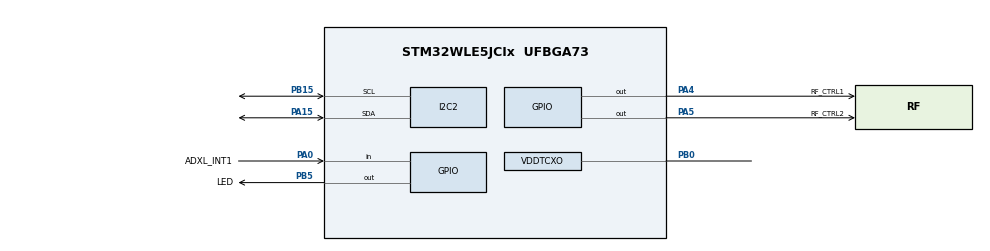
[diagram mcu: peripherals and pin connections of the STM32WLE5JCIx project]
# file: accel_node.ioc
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ADC.NbrOfConversion=1
ADC.SelectedChannel=ADC_CHANNEL_VREFINT
I2C2.Timing=0x10805D88
Mcu.Family=STM32WL
Mcu.Name=STM32WLE5JCIx
Mcu.Package=UFBGA73
NVIC.PVD_PVM_IRQn=true\:0\:0\:false\:false\:true\:true\:true\:true
NVIC.PriorityGroup=NVIC_PRIORITYGROUP_4
NVIC.SUBGHZ_Radio_IRQn=true\:0\:0\:false\:false\:true\:true\:true\:true
NVIC.TIM17_IRQn=true\:15\:0\:false\:false\:true\:false\:true\:true
NVIC.TimeBase=TIM17_IRQn
NVIC.TimeBaseIP=TIM17
OSC_IN.Mode=HSE-TCXO
OSC_IN.Signal=RCC_OSC_IN
PA0.GPIO_Label=ADXL_INT1
PA0.Signal=GPIO_Input
PA15.Mode=I2C
PA15.Signal=I2C2_SDA
PA4.GPIO_Label=RF_CTRL1
PA4.Signal=GPIO_Output
PA5.GPIO_Label=RF_CTRL2
PA5.Signal=GPIO_Output
PB0-VDD_TCXO.Mode=HSE-TCXO
PB0-VDD_TCXO.Signal=VDDTCXO
PB15.Mode=I2C
PB15.Signal=I2C2_SCL
PB5.GPIO_Label=LED
PB5.PinState=GPIO_PIN_SET
PB5.Signal=GPIO_Output
PB6.Signal=USART1_TX
PB7.Signal=USART1_RX
PC14-OSC32_IN.Mode=LSE-External-Oscillator
PC14-OSC32_IN.Signal=RCC_OSC32_IN
PC15-OSC32_OUT.Mode=LSE-External-Oscillator
PC15-OSC32_OUT.Signal=RCC_OSC32_OUT
ProjectManager.HeapSize=0x200
ProjectManager.StackSize=0x400
ProjectManager.TargetToolchain=STM32CubeIDE
RCC.AHBFreq_Value=48000000
RCC.APB1Freq_Value=48000000
RCC.APB1TimFreq_Value=48000000
RCC.APB2Freq_Value=48000000
RCC.APB2TimFreq_Value=48000000
RCC.APB3Freq_Value=48000000
RCC.CortexFreq_Value=48000000
RCC.HCLKFreq_Value=48000000
RCC.HSE_VALUE=32000000
RCC.HSI_VALUE=16000000
RCC.LSE_VALUE=32768
RCC.PLLN=24
RCC.RTCClockSelection=RCC_RTCCLKSOURCE_LSE
RCC.SYSCLKFreq_VALUE=48000000
RCC.SYSCLKSource=RCC_SYSCLKSOURCE_PLLCLK
RCC.VCOOutputFreq_Value=96000000
RTC.Alarm-Alarm\ A=RTC_ALARM_A
RTC.AsynchPrediv=31
RTC.BinMode=RTC_BINARY_ONLY
SUBGHZ_PHY.USE_LPM=true
SUBGHZ_PHY.USE_RTC=true
SUBGHZ_PHY.USE_UART=false
SubGHz_Phy.BSP.number=1
SubGHz_Phy0.BSP.STBoard=false
SubGHz_Phy0.BSP.api=Unknown
SubGHz_Phy0.BSP.condition=\!SEM_SUBGHZ_USER_APPLICATION | SEM_SUBGHZ_USE_RTC
SubGHz_Phy0.BSP.instance=RTC
SubGHz_Phy0.BSP.ip=RTC
SubGHz_Phy0.BSP.mode=RTC Enabled
SubGHz_Phy0.BSP.name=RTC
SubGHz_Phy0.BSP.solution=RTC
VP_ADC_Vref_Input.Mode=IN-Vrefint
VP_ADV_TRACE_VS_ADV_TRACE.Mode=ADV_TRACE_Enabled
VP_MISC_VS_MISC.Mode=MISC_Enabled
VP_RTC_VS_RTC_Activate.Mode=RTC_Enabled
VP_RTC_VS_RTC_Alarm_A_Intern.Mode=Alarm A
VP_RTC_VS_RTC_Calendar.Mode=RTC_Calendar
VP_SEQUENCER_VS_SEQUENCER.Mode=SEQUENCER_Enabled
VP_SUBGHZ_PHY_VS_SubGhzPhy.Mode=SubGhzPhy_Enabled
VP_SUBGHZ_VS_SUBGHZ.Mode=SUBGHZ_Activate
VP_SYS_VS_tim17.Mode=TIM17
VP_TIMER_VS_TIMER.Mode=TIMER_Enabled
VP_TINY_LPM_VS_TINY_LPM.Mode=TINY_LPM_Enabled
board=custom

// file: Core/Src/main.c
/* USER CODE BEGIN Header */
/**
 ******************************************************************************
 * @file           : main.c
 * @brief          : Main program body
 ******************************************************************************
 * @attention
 *
 * Copyright (c) 2026 STMicroelectronics.
 * All rights reserved.
 *
 * This software is licensed under terms that can be found in the LICENSE file
 * in the root directory of this software component.
 * If no LICENSE file comes with this software, it is provided AS-IS.
 *
 ******************************************************************************
 */
/* USER CODE END Header */
#include "main.h"
#include "adc.h"
#include "i2c.h"
#include "rtc.h"
#include "app_subghz_phy.h"
#include "gpio.h"

/* USER CODE BEGIN Includes */
#include <stdbool.h>
#include "adxl345.h"
#include "power_monitor.h"
/* USER CODE END Includes */

/* USER CODE BEGIN PV */
LoriotaWakeReason_t loriota_wake_reason = LORIOTA_WAKE_BOOT;
bool loriota_was_shutdown = false;
static bool loriota_woke_from_rtc = false;
/* USER CODE END PV */

void SystemClock_Config(void);
/* USER CODE BEGIN PFP */
static void DetectWakeReason(void);
static void InitializeAccelerometer(void);
/* USER CODE END PFP */

/* USER CODE BEGIN 0 */
static void DetectWakeReason(void) {
	uint32_t shutdown_marker = HAL_RTCEx_BKUPRead(&hrtc, RTC_BKP_DR16);

	loriota_was_shutdown = (shutdown_marker == LORIOTA_SHUTDOWN_ARMED);

	if (!loriota_was_shutdown) {
		loriota_wake_reason = LORIOTA_WAKE_BOOT;
		return;
	}

	uint32_t backup_signature = HAL_RTCEx_BKUPRead(&hrtc, RTC_BKP_DR17);
	uint32_t saved_stage = HAL_RTCEx_BKUPRead(&hrtc, RTC_BKP_DR18);

	loriota_woke_from_rtc = (__HAL_RTC_WAKEUPTIMER_GET_FLAG(
			&hrtc, RTC_FLAG_WUTF) != RESET);

	if (backup_signature != LORIOTA_BACKUP_STATE_SIGNATURE) {
		loriota_wake_reason = LORIOTA_WAKE_UNEXPECTED;
	} else if (saved_stage == LORIOTA_STAGE_COOLDOWN) {
		loriota_wake_reason =
				loriota_woke_from_rtc ?
						LORIOTA_WAKE_COOLDOWN_END : LORIOTA_WAKE_UNEXPECTED;
	} else if (saved_stage == LORIOTA_STAGE_PERIODIC) {
		loriota_wake_reason =
				loriota_woke_from_rtc ?
						LORIOTA_WAKE_PERIODIC : LORIOTA_WAKE_ACCEL;
	} else {
		loriota_wake_reason = LORIOTA_WAKE_UNEXPECTED;
	}
}

static void InitializeAccelerometer(void) {
	uint8_t adxl_init_data = 0x08U;
	HAL_I2C_Mem_Write(&hi2c2, 0xA6U, 0x2DU, I2C_MEMADD_SIZE_8BIT,
			&adxl_init_data, 1U, 100U);

	HAL_Delay(200U);

	HAL_I2C_DeInit(&hi2c2);
	MX_I2C2_Init();
	HAL_Delay(10U);

	if (loriota_wake_reason == LORIOTA_WAKE_ACCEL) {
		uint8_t int_source = 0U;

		if (ADXL345_ReadInterruptSource(&int_source) != HAL_OK
				|| (int_source & 0x10U) == 0U) {
			loriota_wake_reason = LORIOTA_WAKE_UNEXPECTED;
		}
	}

	ADXL345_ConfigureActivityDetection();
}
/* USER CODE END 0 */

int main(void) {

	/* MCU Configuration--------------------------------------------------------*/

	/* Reset of all peripherals, Initializes the Flash interface and the Systick. */
	HAL_Init();

	/* USER CODE BEGIN Init */

	HAL_PWR_DisableWakeUpPin(PWR_WAKEUP_PIN1);

	__HAL_PWR_CLEAR_FLAG(PWR_FLAG_WU);
	/* USER CODE END Init */

	/* Configure the system clock */
	SystemClock_Config();

	/* USER CODE BEGIN SysInit */

	hrtc.Instance = RTC;
	__HAL_RCC_RTCAPB_CLK_ENABLE();
	DetectWakeReason();
	/* USER CODE END SysInit */

	/* Initialize all configured peripherals */
	MX_GPIO_Init();
	MX_RTC_Init();
	MX_SubGHz_Phy_Init();
	MX_I2C2_Init();
	MX_ADC_Init();
	/* USER CODE BEGIN 2 */
	PowerMonitor_Init();
	HAL_PWR_EnableBkUpAccess();

	HAL_RTCEx_BKUPWrite(&hrtc,
	RTC_BKP_DR16, 0UL);

	if (HAL_RTCEx_DeactivateWakeUpTimer(&hrtc) != HAL_OK) {
		Error_Handler();
	}

	HAL_NVIC_ClearPendingIRQ(RTC_WKUP_IRQn);
	HAL_NVIC_SetPriority(RTC_WKUP_IRQn, 1, 0);
	HAL_NVIC_EnableIRQ(RTC_WKUP_IRQn);

	InitializeAccelerometer();

	if (loriota_wake_reason == LORIOTA_WAKE_UNEXPECTED) {
		Error_Handler();
	}
	/* USER CODE END 2 */

	/* Infinite loop */
	while (1) {
		MX_SubGHz_Phy_Process();

	}
}

void SystemClock_Config(void) {
	RCC_OscInitTypeDef RCC_OscInitStruct = { 0 };
	RCC_ClkInitTypeDef RCC_ClkInitStruct = { 0 };

	/** Configure LSE Drive Capability
	 */
	HAL_PWR_EnableBkUpAccess();
	__HAL_RCC_LSEDRIVE_CONFIG(RCC_LSEDRIVE_LOW);

	/** Configure the main internal regulator output voltage
	 */
	__HAL_PWR_VOLTAGESCALING_CONFIG(PWR_REGULATOR_VOLTAGE_SCALE1);

	/** Initializes the CPU, AHB and APB buses clocks
	 */
	RCC_OscInitStruct.OscillatorType = RCC_OSCILLATORTYPE_LSE
			| RCC_OSCILLATORTYPE_MSI;
	RCC_OscInitStruct.LSEState = RCC_LSE_ON;
	RCC_OscInitStruct.MSIState = RCC_MSI_ON;
	RCC_OscInitStruct.MSICalibrationValue = RCC_MSICALIBRATION_DEFAULT;
	RCC_OscInitStruct.MSIClockRange = RCC_MSIRANGE_6;
	RCC_OscInitStruct.PLL.PLLState = RCC_PLL_ON;
	RCC_OscInitStruct.PLL.PLLSource = RCC_PLLSOURCE_MSI;
	RCC_OscInitStruct.PLL.PLLM = RCC_PLLM_DIV1;
	RCC_OscInitStruct.PLL.PLLN = 24;
	RCC_OscInitStruct.PLL.PLLP = RCC_PLLP_DIV2;
	RCC_OscInitStruct.PLL.PLLR = RCC_PLLR_DIV2;
	RCC_OscInitStruct.PLL.PLLQ = RCC_PLLQ_DIV2;
	if (HAL_RCC_OscConfig(&RCC_OscInitStruct) != HAL_OK) {
		Error_Handler();
	}

	/** Configure the SYSCLKSource, HCLK, PCLK1 and PCLK2 clocks dividers
	 */
	RCC_ClkInitStruct.ClockType = RCC_CLOCKTYPE_HCLK3 | RCC_CLOCKTYPE_HCLK
			| RCC_CLOCKTYPE_SYSCLK | RCC_CLOCKTYPE_PCLK1 | RCC_CLOCKTYPE_PCLK2;
	RCC_ClkInitStruct.SYSCLKSource = RCC_SYSCLKSOURCE_PLLCLK;
	RCC_ClkInitStruct.AHBCLKDivider = RCC_SYSCLK_DIV1;
	RCC_ClkInitStruct.APB1CLKDivider = RCC_HCLK_DIV1;
	RCC_ClkInitStruct.APB2CLKDivider = RCC_HCLK_DIV1;
	RCC_ClkInitStruct.AHBCLK3Divider = RCC_SYSCLK_DIV1;

	if (HAL_RCC_ClockConfig(&RCC_ClkInitStruct, FLASH_LATENCY_2) != HAL_OK) {
		Error_Handler();
	}
}

void HAL_TIM_PeriodElapsedCallback(TIM_HandleTypeDef *htim) {
	if (htim->Instance == TIM17) {
		HAL_IncTick();
	}
}

void Error_Handler(void) {
	__disable_irq();
	while (1) {
	}
}
